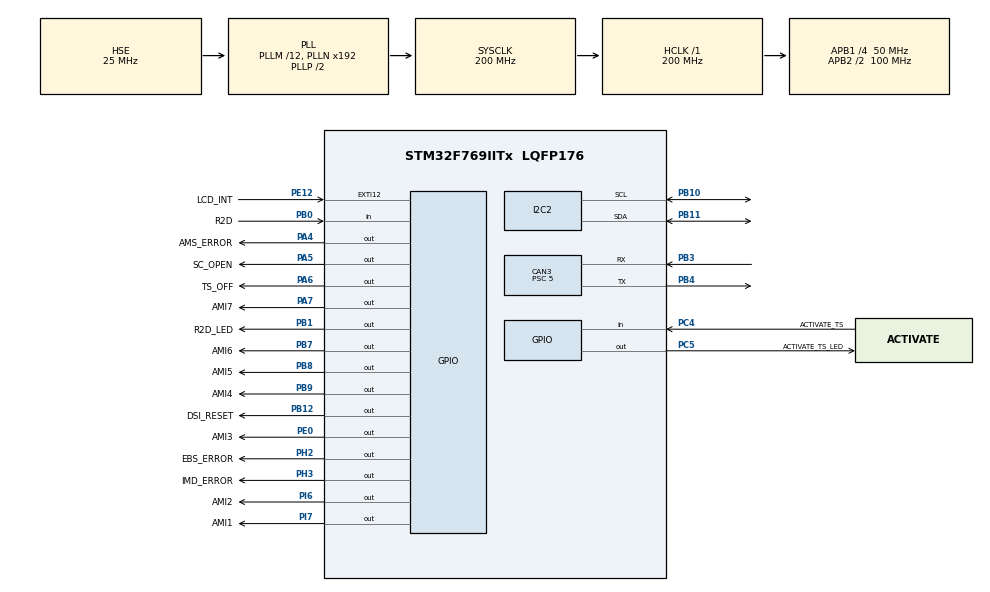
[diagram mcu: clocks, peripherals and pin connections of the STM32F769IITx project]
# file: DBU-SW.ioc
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CAN3.BS1=CAN_BS1_8TQ
CAN3.BS2=CAN_BS2_1TQ
CAN3.CalculateBaudRate=1000000
CAN3.CalculateTimeBit=1000
CAN3.CalculateTimeQuantum=100.0
CAN3.Prescaler=5
CORTEX_M7.CPU_DCache=Enabled
CORTEX_M7.CPU_ICache=Enabled
DSIHOST.AutomaticRefresh=DSI_AR_DISABLE
DSIHOST.LPDcsLongWrite=DSI_LP_DLW_ENABLE
DSIHOST.LPDcsShortReadNoP=DSI_LP_DSR0P_ENABLE
DSIHOST.LPDcsShortWriteNoP=DSI_LP_DSW0P_ENABLE
DSIHOST.LPDcsShortWriteOneP=DSI_LP_DSW1P_ENABLE
DSIHOST.LPGenLongWrite=DSI_LP_GLW_ENABLE
DSIHOST.LPGenShortReadNoP=DSI_LP_GSR0P_ENABLE
DSIHOST.LPGenShortReadOneP=DSI_LP_GSR1P_ENABLE
DSIHOST.LPGenShortReadTwoP=DSI_LP_GSR2P_ENABLE
DSIHOST.LPGenShortWriteNoP=DSI_LP_GSW0P_ENABLE
DSIHOST.LPGenShortWriteOneP=DSI_LP_GSW1P_ENABLE
DSIHOST.LPGenShortWriteTwoP=DSI_LP_GSW2P_ENABLE
DSIHOST.LPMaxReadPacket=DSI_LP_MRDP_ENABLE
DSIHOST.NumberOfLanes=DSI_TWO_DATA_LANES
DSIHOST.StopWaitTime=10
DSIHOST_CKN.Mode=DSIHost_Adapted
DSIHOST_CKN.Signal=DSIHOST_CKN
DSIHOST_CKP.Mode=DSIHost_Adapted
DSIHOST_CKP.Signal=DSIHOST_CKP
DSIHOST_D0N.Mode=DSIHost_Adapted
DSIHOST_D0N.Signal=DSIHOST_D0N
DSIHOST_D0P.Mode=DSIHost_Adapted
DSIHOST_D0P.Signal=DSIHOST_D0P
DSIHOST_D1N.Mode=DSIHost_Adapted
DSIHOST_D1N.Signal=DSIHOST_D1N
DSIHOST_D1P.Mode=DSIHost_Adapted
DSIHOST_D1P.Signal=DSIHOST_D1P
FREERTOS.Mutexes01=lvgl_mutex,Static,lvgl_mutexControlBlock
FREERTOS.Queues01=indicatorsQueue,1,indicators_t,0,Static,indicatorsQueueBuffer,indicatorsQueueControlBlock
FREERTOS.Tasks01=defaultTask,24,128,StartDefaultTask,Default,NULL,Dynamic,NULL,NULL;lvgl,8,2048,lvglTask,As weak,NULL,Static,lvglBuffer,lvglControlBlock;indicators,24,128,indicatorsTask,As weak,NULL,Static,indicatorsBuffer,indicatorsControlBlock;canRX,41,512,canRXTask,As weak,NULL,Static,canRXBuffer,canRXControlBlock;canTX,24,512,canTXTask,As weak,NULL,Static,canTXBuffer,canTXControlBlock
FREERTOS.configUSE_PREEMPTION=1
I2C2.Timing=0x00C0EAFF
LTDC.ActiveW=800
LTDC.Alpha_L0=255
LTDC.HBP=1
LTDC.HFP=1
LTDC.HSync=1
LTDC.ImageHeight_L0=480
LTDC.ImageWidth_L0=800
LTDC.Layers=0
LTDC.VBP=1
LTDC.VFP=1
LTDC.VSync=1
LTDC.WindowX1_L0=800
LTDC.WindowY1_L0=50
Mcu.Family=STM32F7
Mcu.Name=STM32F769IITx
Mcu.Package=LQFP176
NVIC.CAN3_RX0_IRQn=true\:5\:0\:false\:false\:true\:true\:true\:true\:true
NVIC.CAN3_RX1_IRQn=true\:5\:0\:false\:false\:true\:true\:true\:true\:true
NVIC.DSI_IRQn=true\:5\:0\:false\:false\:true\:true\:true\:true\:true
NVIC.PriorityGroup=NVIC_PRIORITYGROUP_4
PA4.GPIO_Label=AMS_ERROR
PA4.Signal=GPIO_Output
PA5.GPIO_Label=SC_OPEN
PA5.Signal=GPIO_Output
PA6.GPIO_Label=TS_OFF
PA6.Signal=GPIO_Output
PA7.GPIO_Label=AMI7
PA7.Signal=GPIO_Output
PB0.GPIO_Label=R2D
PB0.Signal=GPIO_Input
PB1.GPIO_Label=R2D_LED
PB1.Signal=GPIO_Output
PB10.Mode=I2C
PB10.Signal=I2C2_SCL
PB11.Mode=I2C
PB11.Signal=I2C2_SDA
PB12.GPIO_Label=DSI_RESET
PB12.GPIO_Speed=GPIO_SPEED_FREQ_HIGH
PB12.Signal=GPIO_Output
PB3.Mode=CAN_Activate
PB3.Signal=CAN3_RX
PB4.Mode=CAN_Activate
PB4.Signal=CAN3_TX
PB7.GPIO_Label=AMI6
PB7.Signal=GPIO_Output
PB8.GPIO_Label=AMI5
PB8.Signal=GPIO_Output
PB9.GPIO_Label=AMI4
PB9.Signal=GPIO_Output
PC4.GPIO_Label=ACTIVATE_TS
PC4.Signal=GPIO_Input
PC5.GPIO_Label=ACTIVATE_TS_LED
PC5.Signal=GPIO_Output
PE0.GPIO_Label=AMI3
PE0.Signal=GPIO_Output
PE12.GPIO_Label=LCD_INT
PE12.Signal=GPXTI12
PH0/OSC_IN.Mode=HSE-External-Oscillator
PH0/OSC_IN.Signal=RCC_OSC_IN
PH1/OSC_OUT.Mode=HSE-External-Oscillator
PH1/OSC_OUT.Signal=RCC_OSC_OUT
PH2.GPIO_Label=EBS_ERROR
PH2.Signal=GPIO_Output
PH3.GPIO_Label=IMD_ERROR
PH3.Signal=GPIO_Output
PI6.GPIO_Label=AMI2
PI6.Signal=GPIO_Output
PI7.GPIO_Label=AMI1
PI7.Signal=GPIO_Output
ProjectManager.HeapSize=0x200
ProjectManager.StackSize=0x400
ProjectManager.TargetToolchain=STM32CubeIDE
RCC.AHBFreq_Value=200000000
RCC.APB1CLKDivider=RCC_HCLK_DIV4
RCC.APB1Freq_Value=50000000
RCC.APB1TimFreq_Value=100000000
RCC.APB2CLKDivider=RCC_HCLK_DIV2
RCC.APB2Freq_Value=100000000
RCC.APB2TimFreq_Value=200000000
RCC.CortexFreq_Value=200000000
RCC.HCLKFreq_Value=200000000
RCC.HSE_VALUE=25000000
RCC.HSI_VALUE=16000000
RCC.LSE_VALUE=32768
RCC.PLLM=12
RCC.PLLSAIN=185
RCC.PLLSAIRDiv=RCC_PLLSAIDIVR_4
RCC.PLLSourceVirtual=RCC_PLLSOURCE_HSE
RCC.SYSCLKFreq_VALUE=200000000
RCC.SYSCLKSource=RCC_SYSCLKSOURCE_PLLCLK
RCC.USBFreq_Value=200000000
RCC.VCOOutputFreq_Value=400000000
VP_FREERTOS_VS_CMSIS_V2.Mode=CMSIS_V2
VP_LTDC_DSIMode.Mode=RGB888
board=custom

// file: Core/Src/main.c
/* USER CODE BEGIN Header */
/**
  ******************************************************************************
  * @file           : main.c
  * @brief          : Main program body
  ******************************************************************************
  * @attention
  *
  * Copyright (c) 2023 STMicroelectronics.
  * All rights reserved.
  *
  * This software is licensed under terms that can be found in the LICENSE file
  * in the root directory of this software component.
  * If no LICENSE file comes with this software, it is provided AS-IS.
  *
  ******************************************************************************
  */
/* USER CODE END Header */
#include "main.h"
#include "cmsis_os.h"

/* USER CODE BEGIN Includes */
#include "can1.h"
#include "lvgl.h"
#include "lv_dashboard_unit.h"
#include "display.h"
#include "indev/touch.h"
#include "otm8009a.h"
/* USER CODE END Includes */

typedef StaticTask_t osStaticThreadDef_t;
typedef StaticQueue_t osStaticMessageQDef_t;
typedef StaticSemaphore_t osStaticMutexDef_t;

CAN_HandleTypeDef hcan3;

DSI_HandleTypeDef hdsi;

I2C_HandleTypeDef hi2c2;

LTDC_HandleTypeDef hltdc;

/* Definitions for defaultTask */
osThreadId_t defaultTaskHandle;
const osThreadAttr_t defaultTask_attributes = {
  .name = "defaultTask",
  .stack_size = 128 * 4,
  .priority = (osPriority_t) osPriorityNormal,
};
/* Definitions for lvgl */
osThreadId_t lvglHandle;
uint32_t lvglBuffer[ 2048 ];
osStaticThreadDef_t lvglControlBlock;
const osThreadAttr_t lvgl_attributes = {
  .name = "lvgl",
  .cb_mem = &lvglControlBlock,
  .cb_size = sizeof(lvglControlBlock),
  .stack_mem = &lvglBuffer[0],
  .stack_size = sizeof(lvglBuffer),
  .priority = (osPriority_t) osPriorityLow,
};
/* Definitions for indicators */
osThreadId_t indicatorsHandle;
uint32_t indicatorsBuffer[ 128 ];
osStaticThreadDef_t indicatorsControlBlock;
const osThreadAttr_t indicators_attributes = {
  .name = "indicators",
  .cb_mem = &indicatorsControlBlock,
  .cb_size = sizeof(indicatorsControlBlock),
  .stack_mem = &indicatorsBuffer[0],
  .stack_size = sizeof(indicatorsBuffer),
  .priority = (osPriority_t) osPriorityNormal,
};
/* Definitions for canRX */
osThreadId_t canRXHandle;
uint32_t canRXBuffer[ 512 ];
osStaticThreadDef_t canRXControlBlock;
const osThreadAttr_t canRX_attributes = {
  .name = "canRX",
  .cb_mem = &canRXControlBlock,
  .cb_size = sizeof(canRXControlBlock),
  .stack_mem = &canRXBuffer[0],
  .stack_size = sizeof(canRXBuffer),
  .priority = (osPriority_t) osPriorityHigh1,
};
/* Definitions for canTX */
osThreadId_t canTXHandle;
uint32_t canTXBuffer[ 512 ];
osStaticThreadDef_t canTXControlBlock;
const osThreadAttr_t canTX_attributes = {
  .name = "canTX",
  .cb_mem = &canTXControlBlock,
  .cb_size = sizeof(canTXControlBlock),
  .stack_mem = &canTXBuffer[0],
  .stack_size = sizeof(canTXBuffer),
  .priority = (osPriority_t) osPriorityNormal,
};
/* Definitions for indicatorsQueue */
osMessageQueueId_t indicatorsQueueHandle;
uint8_t indicatorsQueueBuffer[ 1 * sizeof( indicators_t ) ];
osStaticMessageQDef_t indicatorsQueueControlBlock;
const osMessageQueueAttr_t indicatorsQueue_attributes = {
  .name = "indicatorsQueue",
  .cb_mem = &indicatorsQueueControlBlock,
  .cb_size = sizeof(indicatorsQueueControlBlock),
  .mq_mem = &indicatorsQueueBuffer,
  .mq_size = sizeof(indicatorsQueueBuffer)
};
/* Definitions for lvgl_mutex */
osMutexId_t lvgl_mutexHandle;
osStaticMutexDef_t lvgl_mutexControlBlock;
const osMutexAttr_t lvgl_mutex_attributes = {
  .name = "lvgl_mutex",
  .cb_mem = &lvgl_mutexControlBlock,
  .cb_size = sizeof(lvgl_mutexControlBlock),
};
/* USER CODE BEGIN PV */
const uint8_t canRxFifo0MsgPending = (1 << 0);
const uint8_t canRxFifo1MsgPending = (1 << 1);

DSI_LPCmdTypeDef dsiLPCmdInit = { 0 };
/* USER CODE END PV */

void SystemClock_Config(void);
static void MX_GPIO_Init(void);
static void MX_CAN3_Init(void);
static void MX_DSIHOST_DSI_Init(void);
static void MX_LTDC_Init(void);
static void MX_I2C2_Init(void);
void StartDefaultTask(void *argument);
void lvglTask(void *argument);
void indicatorsTask(void *argument);
void canRXTask(void *argument);
void canTXTask(void *argument);

/* USER CODE BEGIN PFP */
void LCD_Reset(void);

/* LCD Display IO functions */
void DSI_IO_WriteCmd(uint32_t NbrParams, uint8_t *pParams);

/* TouchScreen (TS) IO functions */
void TS_IO_Init(void);
void TS_IO_Write(uint8_t Addr, uint8_t Reg, uint8_t Value);
uint8_t TS_IO_Read(uint8_t Addr, uint8_t Reg);
uint16_t TS_IO_ReadMultiple(uint8_t Addr, uint8_t Reg, uint8_t *Buffer,
		uint16_t Length);
void TS_IO_WriteMultiple(uint8_t Addr, uint8_t Reg, uint8_t *Buffer,
		uint16_t Length);
void TS_IO_Delay(uint32_t Delay);

static HAL_StatusTypeDef I2Cx_ReadMultiple(I2C_HandleTypeDef *i2c_handler,
		uint8_t Addr, uint16_t Reg, uint16_t MemAddSize, uint8_t *Buffer,
		uint16_t Length);
static HAL_StatusTypeDef I2Cx_WriteMultiple(I2C_HandleTypeDef *i2c_handler,
		uint8_t Addr, uint16_t Reg, uint16_t MemAddSize, uint8_t *Buffer,
		uint16_t Length);
static void I2Cx_Error(I2C_HandleTypeDef *i2c_handler, uint8_t Addr);
/* USER CODE END PFP */

int main(void)
{

  /* Enable I-Cache---------------------------------------------------------*/
  SCB_EnableICache();

  /* Enable D-Cache---------------------------------------------------------*/
  SCB_EnableDCache();

  /* MCU Configuration--------------------------------------------------------*/

  /* Reset of all peripherals, Initializes the Flash interface and the Systick. */
  HAL_Init();

  /* USER CODE BEGIN Init */
  lv_init();
  disp_init();
  //touch_init();
  /* USER CODE END Init */

  /* Configure the system clock */
  SystemClock_Config();

  /* Initialize all configured peripherals */
  MX_GPIO_Init();
  MX_CAN3_Init();
  MX_DSIHOST_DSI_Init();
  MX_LTDC_Init();
  MX_I2C2_Init();
  /* USER CODE BEGIN 2 */
  /* LCD Display Hw reset through XRES signal*/
  	LCD_Reset();
  	/*Start the DSI Host. This will enable DSI Host and Wrapper. This must be
  	 done after the LTDC has been enabled*/
  	HAL_DSI_Start(&hdsi);
  	/*LCD Display initialization: This will send display init commands.
  	 Arguments are color format and orientation. Color format must be consistent
  	 with DSI Host color format*/
  	OTM8009A_Init(OTM8009A_FORMAT_RGB888, OTM8009A_ORIENTATION_LANDSCAPE);
  	/*Max brightness*/
  	HAL_DSI_ShortWrite(&hdsi, 0, DSI_DCS_SHORT_PKT_WRITE_P1,
  	OTM8009A_CMD_WRDISBV, 0xFF);
  	/*Enable HS transmission of commands. This is in case Display init has been
  	 done in LP as required by some displays*/
  	/* Wait for 10ms before stopping the DSI*/
  	HAL_Delay(20);
  	/* Stop the DSI and reconfigure the DCS Long Write in High Speed only,
  	 since display refresh is done with DCS Long Write commands*/
  	HAL_DSI_Stop(&hdsi);
  	/* Configure the command mode */
  	dsiLPCmdInit.LPGenShortWriteNoP = DSI_LP_GSW0P_ENABLE;
  	dsiLPCmdInit.LPGenShortWriteOneP = DSI_LP_GSW1P_ENABLE;
  	dsiLPCmdInit.LPGenShortWriteTwoP = DSI_LP_GSW2P_ENABLE;
  	dsiLPCmdInit.LPGenShortReadNoP = DSI_LP_GSR0P_ENABLE;
  	dsiLPCmdInit.LPGenShortReadOneP = DSI_LP_GSR1P_ENABLE;
  	dsiLPCmdInit.LPGenShortReadTwoP = DSI_LP_GSR2P_ENABLE;
  	dsiLPCmdInit.LPGenLongWrite = DSI_LP_GLW_ENABLE;
  	dsiLPCmdInit.LPDcsShortWriteNoP = DSI_LP_DSW0P_ENABLE;
  	dsiLPCmdInit.LPDcsShortWriteOneP = DSI_LP_DSW1P_ENABLE;
  	dsiLPCmdInit.LPDcsShortReadNoP = DSI_LP_DSR0P_ENABLE;
  	dsiLPCmdInit.LPDcsLongWrite = DSI_LP_DLW_DISABLE;
  	dsiLPCmdInit.LPMaxReadPacket = DSI_LP_MRDP_ENABLE;
  	dsiLPCmdInit.AcknowledgeRequest = DSI_ACKNOWLEDGE_DISABLE;
  	/* Init the command mode */
  	HAL_DSI_ConfigCommand(&hdsi, &dsiLPCmdInit);

  	HAL_DSI_Start(&hdsi);
  	/* Manual refresh. This will enable LTDCEN bit in the DSI Wrapper Control
  	 register */

  	HAL_DSI_Refresh(&hdsi);
  	/* Wait for 10ms before starting to draw pixels*/
  	HAL_Delay(20);

  	HAL_CAN_Start(&hcan3);
  //HAL_CAN_ActivateNotification(&hcan3, CAN_IT_RX_FIFO0_MSG_PENDING | CAN_IT_RX_FIFO1_MSG_PENDING);
  lv_dashboard();
  HAL_GPIO_WritePin(IMD_ERROR_GPIO_Port, IMD_ERROR_Pin, GPIO_PIN_SET);

  HAL_GPIO_WritePin(AMS_ERROR_GPIO_Port, AMS_ERROR_Pin, GPIO_PIN_SET);
  //  HAL_GPIO_WritePin(EBS_ERROR_GPIO_Port, EBS_ERROR_Pin, GPIO_PIN_SET);
    HAL_Delay(2000);
    HAL_GPIO_WritePin(IMD_ERROR_GPIO_Port, IMD_ERROR_Pin, GPIO_PIN_RESET);
      HAL_GPIO_WritePin(AMS_ERROR_GPIO_Port, AMS_ERROR_Pin, GPIO_PIN_RESET);
     // HAL_GPIO_WritePin(EBS_ERROR_GPIO_Port, EBS_ERROR_Pin, GPIO_PIN_RESET);

  /* USER CODE END 2 */

  /* Init scheduler */
  osKernelInitialize();
  /* Create the mutex(es) */
  /* creation of lvgl_mutex */
  lvgl_mutexHandle = osMutexNew(&lvgl_mutex_attributes);

  /* Create the queue(s) */
  /* creation of indicatorsQueue */
  indicatorsQueueHandle = osMessageQueueNew (1, sizeof(indicators_t), &indicatorsQueue_attributes);

  /* Create the thread(s) */
  /* creation of defaultTask */
  defaultTaskHandle = osThreadNew(StartDefaultTask, NULL, &defaultTask_attributes);

  /* creation of lvgl */
  lvglHandle = osThreadNew(lvglTask, NULL, &lvgl_attributes);

  /* creation of indicators */
  indicatorsHandle = osThreadNew(indicatorsTask, NULL, &indicators_attributes);

  /* creation of canRX */
  canRXHandle = osThreadNew(canRXTask, NULL, &canRX_attributes);

  /* creation of canTX */
  canTXHandle = osThreadNew(canTXTask, NULL, &canTX_attributes);

  /* Start scheduler */
  osKernelStart();

  /* We should never get here as control is now taken by the scheduler */
  /* Infinite loop */
  while (1)
  {

  }
}

void SystemClock_Config(void)
{
  RCC_OscInitTypeDef RCC_OscInitStruct = {0};
  RCC_ClkInitTypeDef RCC_ClkInitStruct = {0};

  /** Configure the main internal regulator output voltage
  */
  __HAL_RCC_PWR_CLK_ENABLE();
  __HAL_PWR_VOLTAGESCALING_CONFIG(PWR_REGULATOR_VOLTAGE_SCALE1);

  /** Initializes the RCC Oscillators according to the specified parameters
  * in the RCC_OscInitTypeDef structure.
  */
  RCC_OscInitStruct.OscillatorType = RCC_OSCILLATORTYPE_HSE;
  RCC_OscInitStruct.HSEState = RCC_HSE_ON;
  RCC_OscInitStruct.PLL.PLLState = RCC_PLL_ON;
  RCC_OscInitStruct.PLL.PLLSource = RCC_PLLSOURCE_HSE;
  RCC_OscInitStruct.PLL.PLLM = 12;
  RCC_OscInitStruct.PLL.PLLN = 192;
  RCC_OscInitStruct.PLL.PLLP = RCC_PLLP_DIV2;
  RCC_OscInitStruct.PLL.PLLQ = 2;
  RCC_OscInitStruct.PLL.PLLR = 2;
  if (HAL_RCC_OscConfig(&RCC_OscInitStruct) != HAL_OK)
  {
    Error_Handler();
  }

  /** Activate the Over-Drive mode
  */
  if (HAL_PWREx_EnableOverDrive() != HAL_OK)
  {
    Error_Handler();
  }

  /** Initializes the CPU, AHB and APB buses clocks
  */
  RCC_ClkInitStruct.ClockType = RCC_CLOCKTYPE_HCLK|RCC_CLOCKTYPE_SYSCLK
                              |RCC_CLOCKTYPE_PCLK1|RCC_CLOCKTYPE_PCLK2;
  RCC_ClkInitStruct.SYSCLKSource = RCC_SYSCLKSOURCE_PLLCLK;
  RCC_ClkInitStruct.AHBCLKDivider = RCC_SYSCLK_DIV1;
  RCC_ClkInitStruct.APB1CLKDivider = RCC_HCLK_DIV4;
  RCC_ClkInitStruct.APB2CLKDivider = RCC_HCLK_DIV2;

  if (HAL_RCC_ClockConfig(&RCC_ClkInitStruct, FLASH_LATENCY_6) != HAL_OK)
  {
    Error_Handler();
  }
}

static void MX_CAN3_Init(void)
{

  hcan3.Instance = CAN3;
  hcan3.Init.Prescaler = 5;
  hcan3.Init.Mode = CAN_MODE_NORMAL;
  hcan3.Init.SyncJumpWidth = CAN_SJW_1TQ;
  hcan3.Init.TimeSeg1 = CAN_BS1_8TQ;
  hcan3.Init.TimeSeg2 = CAN_BS2_1TQ;
  hcan3.Init.TimeTriggeredMode = DISABLE;
  hcan3.Init.AutoBusOff = DISABLE;
  hcan3.Init.AutoWakeUp = DISABLE;
  hcan3.Init.AutoRetransmission = DISABLE;
  hcan3.Init.ReceiveFifoLocked = DISABLE;
  hcan3.Init.TransmitFifoPriority = DISABLE;
  if (HAL_CAN_Init(&hcan3) != HAL_OK)
  {
    Error_Handler();
  }
  /* USER CODE BEGIN CAN3_Init 2 */
  CAN_FilterTypeDef sFilterConfig;
  	sFilterConfig.FilterActivation = ENABLE;
  	sFilterConfig.FilterMode = CAN_FILTERMODE_IDMASK;
  	sFilterConfig.FilterScale = CAN_FILTERSCALE_16BIT;

  	sFilterConfig.FilterFIFOAssignment = CAN_FILTER_FIFO0;
  	sFilterConfig.FilterBank = 0;
  	sFilterConfig.FilterMaskIdHigh = 0x1F;
  	sFilterConfig.FilterMaskIdLow = 0xFF;
  	sFilterConfig.FilterIdHigh = CAN1_DV_SYSTEM_STATUS_FRAME_ID >> 8;
  	sFilterConfig.FilterIdLow = CAN1_DV_SYSTEM_STATUS_FRAME_ID;

  	if (HAL_CAN_ConfigFilter(&hcan3, &sFilterConfig) != HAL_OK) {
  		Error_Handler();
  	}

  	sFilterConfig.FilterFIFOAssignment = CAN_FILTER_FIFO1;
  	if (HAL_CAN_ConfigFilter(&hcan3, &sFilterConfig) != HAL_OK) {
  		Error_Handler();
  	}

  	sFilterConfig.FilterFIFOAssignment = CAN_FILTER_FIFO0;
  	sFilterConfig.FilterBank = 1;
  	sFilterConfig.FilterMaskIdHigh = 0x1F;
  	sFilterConfig.FilterMaskIdLow = 0xFF;
  	sFilterConfig.FilterIdHigh = CAN1_AMS_STATUS_1_FRAME_ID >> 8;
  	sFilterConfig.FilterIdLow = CAN1_AMS_STATUS_1_FRAME_ID;

  	if (HAL_CAN_ConfigFilter(&hcan3, &sFilterConfig) != HAL_OK) {
  		Error_Handler();
  	}

  	sFilterConfig.FilterFIFOAssignment = CAN_FILTER_FIFO1;
  	if (HAL_CAN_ConfigFilter(&hcan3, &sFilterConfig) != HAL_OK) {
  		Error_Handler();
  	}

  /* USER CODE END CAN3_Init 2 */

}

static void MX_DSIHOST_DSI_Init(void)
{

  DSI_PLLInitTypeDef PLLInit = {0};
  DSI_HOST_TimeoutTypeDef HostTimeouts = {0};
  DSI_PHY_TimerTypeDef PhyTimings = {0};
  DSI_LPCmdTypeDef LPCmd = {0};
  DSI_CmdCfgTypeDef CmdCfg = {0};

  hdsi.Instance = DSI;
  hdsi.Init.AutomaticClockLaneControl = DSI_AUTO_CLK_LANE_CTRL_DISABLE;
  hdsi.Init.TXEscapeCkdiv = 4;
  hdsi.Init.NumberOfLanes = DSI_TWO_DATA_LANES;
  PLLInit.PLLNDIV = 20;
  PLLInit.PLLIDF = DSI_PLL_IN_DIV1;
  PLLInit.PLLODF = DSI_PLL_OUT_DIV1;
  if (HAL_DSI_Init(&hdsi, &PLLInit) != HAL_OK)
  {
    Error_Handler();
  }
  HostTimeouts.TimeoutCkdiv = 1;
  HostTimeouts.HighSpeedTransmissionTimeout = 0;
  HostTimeouts.LowPowerReceptionTimeout = 0;
  HostTimeouts.HighSpeedReadTimeout = 0;
  HostTimeouts.LowPowerReadTimeout = 0;
  HostTimeouts.HighSpeedWriteTimeout = 0;
  HostTimeouts.HighSpeedWritePrespMode = DSI_HS_PM_DISABLE;
  HostTimeouts.LowPowerWriteTimeout = 0;
  HostTimeouts.BTATimeout = 0;
  if (HAL_DSI_ConfigHostTimeouts(&hdsi, &HostTimeouts) != HAL_OK)
  {
    Error_Handler();
  }
  PhyTimings.ClockLaneHS2LPTime = 28;
  PhyTimings.ClockLaneLP2HSTime = 33;
  PhyTimings.DataLaneHS2LPTime = 15;
  PhyTimings.DataLaneLP2HSTime = 25;
  PhyTimings.DataLaneMaxReadTime = 0;
  PhyTimings.StopWaitTime = 10;
  if (HAL_DSI_ConfigPhyTimer(&hdsi, &PhyTimings) != HAL_OK)
  {
    Error_Handler();
  }
  if (HAL_DSI_ConfigFlowControl(&hdsi, DSI_FLOW_CONTROL_BTA) != HAL_OK)
  {
    Error_Handler();
  }
  if (HAL_DSI_SetLowPowerRXFilter(&hdsi, 10000) != HAL_OK)
  {
    Error_Handler();
  }
  if (HAL_DSI_ConfigErrorMonitor(&hdsi, HAL_DSI_ERROR_NONE) != HAL_OK)
  {
    Error_Handler();
  }
  LPCmd.LPGenShortWriteNoP = DSI_LP_GSW0P_ENABLE;
  LPCmd.LPGenShortWriteOneP = DSI_LP_GSW1P_ENABLE;
  LPCmd.LPGenShortWriteTwoP = DSI_LP_GSW2P_ENABLE;
  LPCmd.LPGenShortReadNoP = DSI_LP_GSR0P_ENABLE;
  LPCmd.LPGenShortReadOneP = DSI_LP_GSR1P_ENABLE;
  LPCmd.LPGenShortReadTwoP = DSI_LP_GSR2P_ENABLE;
  LPCmd.LPGenLongWrite = DSI_LP_GLW_ENABLE;
  LPCmd.LPDcsShortWriteNoP = DSI_LP_DSW0P_ENABLE;
  LPCmd.LPDcsShortWriteOneP = DSI_LP_DSW1P_ENABLE;
  LPCmd.LPDcsShortReadNoP = DSI_LP_DSR0P_ENABLE;
  LPCmd.LPDcsLongWrite = DSI_LP_DLW_ENABLE;
  LPCmd.LPMaxReadPacket = DSI_LP_MRDP_ENABLE;
  LPCmd.AcknowledgeRequest = DSI_ACKNOWLEDGE_DISABLE;
  if (HAL_DSI_ConfigCommand(&hdsi, &LPCmd) != HAL_OK)
  {
    Error_Handler();
  }
  CmdCfg.VirtualChannelID = 0;
  CmdCfg.ColorCoding = DSI_RGB888;
  CmdCfg.CommandSize = 800;
  CmdCfg.TearingEffectSource = DSI_TE_DSILINK;
  CmdCfg.TearingEffectPolarity = DSI_TE_RISING_EDGE;
  CmdCfg.HSPolarity = DSI_HSYNC_ACTIVE_LOW;
  CmdCfg.VSPolarity = DSI_VSYNC_ACTIVE_LOW;
  CmdCfg.DEPolarity = DSI_DATA_ENABLE_ACTIVE_HIGH;
  CmdCfg.VSyncPol = DSI_VSYNC_FALLING;
  CmdCfg.AutomaticRefresh = DSI_AR_DISABLE;
  CmdCfg.TEAcknowledgeRequest = DSI_TE_ACKNOWLEDGE_DISABLE;
  if (HAL_DSI_ConfigAdaptedCommandMode(&hdsi, &CmdCfg) != HAL_OK)
  {
    Error_Handler();
  }
  if (HAL_DSI_SetGenericVCID(&hdsi, 0) != HAL_OK)
  {
    Error_Handler();
  }

}

static void MX_I2C2_Init(void)
{

  hi2c2.Instance = I2C2;
  hi2c2.Init.Timing = 0x00C0EAFF;
  hi2c2.Init.OwnAddress1 = 0;
  hi2c2.Init.AddressingMode = I2C_ADDRESSINGMODE_7BIT;
  hi2c2.Init.DualAddressMode = I2C_DUALADDRESS_DISABLE;
  hi2c2.Init.OwnAddress2 = 0;
  hi2c2.Init.OwnAddress2Masks = I2C_OA2_NOMASK;
  hi2c2.Init.GeneralCallMode = I2C_GENERALCALL_DISABLE;
  hi2c2.Init.NoStretchMode = I2C_NOSTRETCH_DISABLE;
  if (HAL_I2C_Init(&hi2c2) != HAL_OK)
  {
    Error_Handler();
  }

  /** Configure Analogue filter
  */
  if (HAL_I2CEx_ConfigAnalogFilter(&hi2c2, I2C_ANALOGFILTER_ENABLE) != HAL_OK)
  {
    Error_Handler();
  }

  /** Configure Digital filter
  */
  if (HAL_I2CEx_ConfigDigitalFilter(&hi2c2, 0) != HAL_OK)
  {
    Error_Handler();
  }

}

static void MX_LTDC_Init(void)
{

  LTDC_LayerCfgTypeDef pLayerCfg = {0};

  hltdc.Instance = LTDC;
  hltdc.Init.HSPolarity = LTDC_HSPOLARITY_AL;
  hltdc.Init.VSPolarity = LTDC_VSPOLARITY_AL;
  hltdc.Init.DEPolarity = LTDC_DEPOLARITY_AL;
  hltdc.Init.PCPolarity = LTDC_PCPOLARITY_IPC;
  hltdc.Init.HorizontalSync = 0;
  hltdc.Init.VerticalSync = 0;
  hltdc.Init.AccumulatedHBP = 1;
  hltdc.Init.AccumulatedVBP = 1;
  hltdc.Init.AccumulatedActiveW = 801;
  hltdc.Init.AccumulatedActiveH = 481;
  hltdc.Init.TotalWidth = 802;
  hltdc.Init.TotalHeigh = 482;
  hltdc.Init.Backcolor.Blue = 0;
  hltdc.Init.Backcolor.Green = 0;
  hltdc.Init.Backcolor.Red = 0;
  if (HAL_LTDC_Init(&hltdc) != HAL_OK)
  {
    Error_Handler();
  }
  pLayerCfg.WindowX0 = 0;
  pLayerCfg.WindowX1 = 800;
  pLayerCfg.WindowY0 = 0;
  pLayerCfg.WindowY1 = 50;
  pLayerCfg.PixelFormat = LTDC_PIXEL_FORMAT_ARGB8888;
  pLayerCfg.Alpha = 255;
  pLayerCfg.Alpha0 = 0;
  pLayerCfg.BlendingFactor1 = LTDC_BLENDING_FACTOR1_CA;
  pLayerCfg.BlendingFactor2 = LTDC_BLENDING_FACTOR2_CA;
  pLayerCfg.FBStartAdress = 0;
  pLayerCfg.ImageWidth = 800;
  pLayerCfg.ImageHeight = 480;
  pLayerCfg.Backcolor.Blue = 0;
  pLayerCfg.Backcolor.Green = 0;
  pLayerCfg.Backcolor.Red = 0;
  if (HAL_LTDC_ConfigLayer(&hltdc, &pLayerCfg, 0) != HAL_OK)
  {
    Error_Handler();
  }

}

static void MX_GPIO_Init(void)
{
  GPIO_InitTypeDef GPIO_InitStruct = {0};

  /* GPIO Ports Clock Enable */
  __HAL_RCC_GPIOH_CLK_ENABLE();
  __HAL_RCC_GPIOA_CLK_ENABLE();
  __HAL_RCC_GPIOC_CLK_ENABLE();
  __HAL_RCC_GPIOB_CLK_ENABLE();
  __HAL_RCC_GPIOE_CLK_ENABLE();
  __HAL_RCC_GPIOI_CLK_ENABLE();

  /*Configure GPIO pin Output Level */
  HAL_GPIO_WritePin(GPIOH, EBS_ERROR_Pin|IMD_ERROR_Pin, GPIO_PIN_RESET);

  /*Configure GPIO pin Output Level */
  HAL_GPIO_WritePin(GPIOA, AMS_ERROR_Pin|SC_OPEN_Pin|TS_OFF_Pin|AMI7_Pin, GPIO_PIN_RESET);

  /*Configure GPIO pin Output Level */
  HAL_GPIO_WritePin(ACTIVATE_TS_LED_GPIO_Port, ACTIVATE_TS_LED_Pin, GPIO_PIN_RESET);

  /*Configure GPIO pin Output Level */
  HAL_GPIO_WritePin(GPIOB, R2D_LED_Pin|DSI_RESET_Pin|AMI6_Pin|AMI5_Pin
                          |AMI4_Pin, GPIO_PIN_RESET);

  /*Configure GPIO pin Output Level */
  HAL_GPIO_WritePin(AMI3_GPIO_Port, AMI3_Pin, GPIO_PIN_RESET);

  /*Configure GPIO pin Output Level */
  HAL_GPIO_WritePin(GPIOI, AMI2_Pin|AMI1_Pin, GPIO_PIN_RESET);

  /*Configure GPIO pins : EBS_ERROR_Pin IMD_ERROR_Pin */
  GPIO_InitStruct.Pin = EBS_ERROR_Pin|IMD_ERROR_Pin;
  GPIO_InitStruct.Mode = GPIO_MODE_OUTPUT_PP;
  GPIO_InitStruct.Pull = GPIO_NOPULL;
  GPIO_InitStruct.Speed = GPIO_SPEED_FREQ_LOW;
  HAL_GPIO_Init(GPIOH, &GPIO_InitStruct);

  /*Configure GPIO pins : AMS_ERROR_Pin SC_OPEN_Pin TS_OFF_Pin AMI7_Pin */
  GPIO_InitStruct.Pin = AMS_ERROR_Pin|SC_OPEN_Pin|TS_OFF_Pin|AMI7_Pin;
  GPIO_InitStruct.Mode = GPIO_MODE_OUTPUT_PP;
  GPIO_InitStruct.Pull = GPIO_NOPULL;
  GPIO_InitStruct.Speed = GPIO_SPEED_FREQ_LOW;
  HAL_GPIO_Init(GPIOA, &GPIO_InitStruct);

  /*Configure GPIO pin : ACTIVATE_TS_Pin */
  GPIO_InitStruct.Pin = ACTIVATE_TS_Pin;
  GPIO_InitStruct.Mode = GPIO_MODE_INPUT;
  GPIO_InitStruct.Pull = GPIO_NOPULL;
  HAL_GPIO_Init(ACTIVATE_TS_GPIO_Port, &GPIO_InitStruct);

  /*Configure GPIO pin : ACTIVATE_TS_LED_Pin */
  GPIO_InitStruct.Pin = ACTIVATE_TS_LED_Pin;
  GPIO_InitStruct.Mode = GPIO_MODE_OUTPUT_PP;
  GPIO_InitStruct.Pull = GPIO_NOPULL;
  GPIO_InitStruct.Speed = GPIO_SPEED_FREQ_LOW;
  HAL_GPIO_Init(ACTIVATE_TS_LED_GPIO_Port, &GPIO_InitStruct);

  /*Configure GPIO pin : R2D_Pin */
  GPIO_InitStruct.Pin = R2D_Pin;
  GPIO_InitStruct.Mode = GPIO_MODE_INPUT;
  GPIO_InitStruct.Pull = GPIO_NOPULL;
  HAL_GPIO_Init(R2D_GPIO_Port, &GPIO_InitStruct);

  /*Configure GPIO pins : R2D_LED_Pin AMI6_Pin AMI5_Pin AMI4_Pin */
  GPIO_InitStruct.Pin = R2D_LED_Pin|AMI6_Pin|AMI5_Pin|AMI4_Pin;
  GPIO_InitStruct.Mode = GPIO_MODE_OUTPUT_PP;
  GPIO_InitStruct.Pull = GPIO_NOPULL;
  GPIO_InitStruct.Speed = GPIO_SPEED_FREQ_LOW;
  HAL_GPIO_Init(GPIOB, &GPIO_InitStruct);

  /*Configure GPIO pin : LCD_INT_Pin */
  GPIO_InitStruct.Pin = LCD_INT_Pin;
  GPIO_InitStruct.Mode = GPIO_MODE_IT_RISING;
  GPIO_InitStruct.Pull = GPIO_NOPULL;
  HAL_GPIO_Init(LCD_INT_GPIO_Port, &GPIO_InitStruct);

  /*Configure GPIO pin : DSI_RESET_Pin */
  GPIO_InitStruct.Pin = DSI_RESET_Pin;
  GPIO_InitStruct.Mode = GPIO_MODE_OUTPUT_PP;
  GPIO_InitStruct.Pull = GPIO_NOPULL;
  GPIO_InitStruct.Speed = GPIO_SPEED_FREQ_HIGH;
  HAL_GPIO_Init(DSI_RESET_GPIO_Port, &GPIO_InitStruct);

  /*Configure GPIO pin : AMI3_Pin */
  GPIO_InitStruct.Pin = AMI3_Pin;
  GPIO_InitStruct.Mode = GPIO_MODE_OUTPUT_PP;
  GPIO_InitStruct.Pull = GPIO_NOPULL;
  GPIO_InitStruct.Speed = GPIO_SPEED_FREQ_LOW;
  HAL_GPIO_Init(AMI3_GPIO_Port, &GPIO_InitStruct);

  /*Configure GPIO pins : AMI2_Pin AMI1_Pin */
  GPIO_InitStruct.Pin = AMI2_Pin|AMI1_Pin;
  GPIO_InitStruct.Mode = GPIO_MODE_OUTPUT_PP;
  GPIO_InitStruct.Pull = GPIO_NOPULL;
  GPIO_InitStruct.Speed = GPIO_SPEED_FREQ_LOW;
  HAL_GPIO_Init(GPIOI, &GPIO_InitStruct);

}

/* USER CODE BEGIN 4 */
void HAL_CAN_RxFifo0MsgPendingCallback(CAN_HandleTypeDef *hcan){
	if(hcan == &hcan3){
		osThreadFlagsSet(canRXHandle, canRxFifo0MsgPending);
	}
}
void HAL_CAN_RxFifo1MsgPendingCallback(CAN_HandleTypeDef *hcan){
	if(hcan == &hcan3){
			osThreadFlagsSet(canRXHandle, canRxFifo1MsgPending);
		}
}
/**
 * @brief Resets uC on display daughterboard
 * @param None
 * @retval None
 */
void LCD_Reset(void) {
	/* Activate XRES active low */
	HAL_GPIO_WritePin(DSI_RESET_GPIO_Port, DSI_RESET_Pin, GPIO_PIN_RESET);

	HAL_Delay(20); /* wait 20 ms */

	/* Desactivate XRES */
	HAL_GPIO_WritePin(DSI_RESET_GPIO_Port, DSI_RESET_Pin, GPIO_PIN_SET);

	/* Wait for 10ms after releasing XRES before sending commands */
	HAL_Delay(10);
}

/******************************** LINK OTM8009A (Display) ***********************/
void OTM8009A_IO_Delay(uint32_t Delay) {
	HAL_Delay(Delay);
}

void DSI_IO_WriteCmd(uint32_t NbrParams, uint8_t *pParams) {
	if (NbrParams <= 1) {
		HAL_DSI_ShortWrite(&hdsi, 0, DSI_DCS_SHORT_PKT_WRITE_P1, pParams[0],
				pParams[1]);
	} else {
		HAL_DSI_LongWrite(&hdsi, 0, DSI_DCS_LONG_PKT_WRITE, NbrParams,
				pParams[NbrParams], pParams);
	}
}

/******************************** LINK TS (TouchScreen) ***********************/

/**
 * @brief  Initializes Touchscreen low level.
 * @retval None
 */
void TS_IO_Init(void) {
	MX_I2C2_Init();
}

/**
 * @brief  Reads a single data.
 * @param  Addr: I2C address
 * @param  Reg: Reg address
 * @retval Data to be read
 */
uint8_t TS_IO_Read(uint8_t Addr, uint8_t Reg) {
	uint8_t read_value = 0;

	I2Cx_ReadMultiple(&hi2c2, Addr, Reg, I2C_MEMADD_SIZE_8BIT,
			(uint8_t*) &read_value, 1);

	return read_value;
}

/**
 * @brief  Reads multiple data with I2C communication
 *         channel from TouchScreen.
 * @param  Addr: I2C address
 * @param  Reg: Register address
 * @param  Buffer: Pointer to data buffer
 * @param  Length: Length of the data
 * @retval Number of read data
 */
uint16_t TS_IO_ReadMultiple(uint8_t Addr, uint8_t Reg, uint8_t *Buffer,
		uint16_t Length) {
	return I2Cx_ReadMultiple(&hi2c2, Addr, (uint16_t) Reg,
	I2C_MEMADD_SIZE_8BIT, Buffer, Length);
}

/**
 * @brief  Writes a single data.
 * @param  Addr: I2C address
 * @param  Reg: Reg address
 * @param  Value: Data to be written
 * @retval None
 */
void TS_IO_Write(uint8_t Addr, uint8_t Reg, uint8_t Value) {
	I2Cx_WriteMultiple(&hi2c2, Addr, (uint16_t) Reg, I2C_MEMADD_SIZE_8BIT,
			(uint8_t*) &Value, 1);
}

/**
 * @brief  Writes multiple data with I2C communication
 *         channel from MCU to TouchScreen.
 * @param  Addr: I2C address
 * @param  Reg: Register address
 * @param  Buffer: Pointer to data buffer
 * @param  Length: Length of the data
 * @retval None
 */
void TS_IO_WriteMultiple(uint8_t Addr, uint8_t Reg, uint8_t *Buffer,
		uint16_t Length) {
	I2Cx_WriteMultiple(&hi2c2, Addr, (uint16_t) Reg, I2C_MEMADD_SIZE_8BIT,
			Buffer, Length);
}

/**
 * @brief  Delay function used in TouchScreen low level driver.
 * @param  Delay: Delay in ms
 * @retval None
 */
void TS_IO_Delay(uint32_t Delay) {
	HAL_Delay(Delay);
}

/******************************** I2C Helper functions ***********************/
/**
 * @brief  Reads multiple data.
 * @param  i2c_handler : I2C handler
 * @param  Addr: I2C address
 * @param  Reg: Reg address
 * @param  MemAddress: memory address
 * @param  Buffer: Pointer to data buffer
 * @param  Length: Length of the data
 * @retval HAL status
 */
static HAL_StatusTypeDef I2Cx_ReadMultiple(I2C_HandleTypeDef *i2c_handler,
		uint8_t Addr, uint16_t Reg, uint16_t MemAddress, uint8_t *Buffer,
		uint16_t Length) {
	HAL_StatusTypeDef status = HAL_OK;

	status = HAL_I2C_Mem_Read(i2c_handler, Addr, (uint16_t) Reg, MemAddress,
			Buffer, Length, 1000);

	/* Check the communication status */
	if (status != HAL_OK) {
		/* I2C error occured */
		I2Cx_Error(i2c_handler, Addr);
	}
	return status;
}

/**
 * @brief  Writes a value in a register of the device through BUS in using DMA mode.
 * @param  i2c_handler : I2C handler
 * @param  Addr: Device address on BUS Bus.
 * @param  Reg: The target register address to write
 * @param  MemAddress: memory address
 * @param  Buffer: The target register value to be written
 * @param  Length: buffer size to be written
 * @retval HAL status
 */
static HAL_StatusTypeDef I2Cx_WriteMultiple(I2C_HandleTypeDef *i2c_handler,
		uint8_t Addr, uint16_t Reg, uint16_t MemAddress, uint8_t *Buffer,
		uint16_t Length) {
	HAL_StatusTypeDef status = HAL_OK;

	status = HAL_I2C_Mem_Write(i2c_handler, Addr, (uint16_t) Reg, MemAddress,
			Buffer, Length, 1000);

	/* Check the communication status */
	if (status != HAL_OK) {
		/* Re-Initiaize the I2C Bus */
		I2Cx_Error(i2c_handler, Addr);
	}
	return status;
}

/**
 * @brief  Manages error callback by re-initializing I2C.
 * @param  i2c_handler : I2C handler
 * @param  Addr: I2C Address
 * @retval None
 */
static void I2Cx_Error(I2C_HandleTypeDef *i2c_handler, uint8_t Addr) {
	/* De-initialize the I2C communication bus */
	HAL_I2C_DeInit(i2c_handler);

	/* Re-Initialize the I2C communication bus */
	MX_I2C2_Init();
}
/* USER CODE END 4 */

void StartDefaultTask(void *argument)
{
  for(;;)
  {
    osDelay(1);
  }
}

__weak void lvglTask(void *argument)
{
  /* USER CODE BEGIN lvglTask */
  /* Infinite loop */
  for(;;)
  {
    osDelay(10);
  }
  /* USER CODE END lvglTask */
}

__weak void indicatorsTask(void *argument)
{
  for(;;)
  {
    osDelay(1);
  }
}

__weak void canRXTask(void *argument)
{
  for(;;)
  {
    osDelay(1);
  }
}

__weak void canTXTask(void *argument)
{
  for(;;)
  {
    osDelay(1);
  }
}

void Error_Handler(void)
{
  __disable_irq();
  while (1)
  {
  }
}
